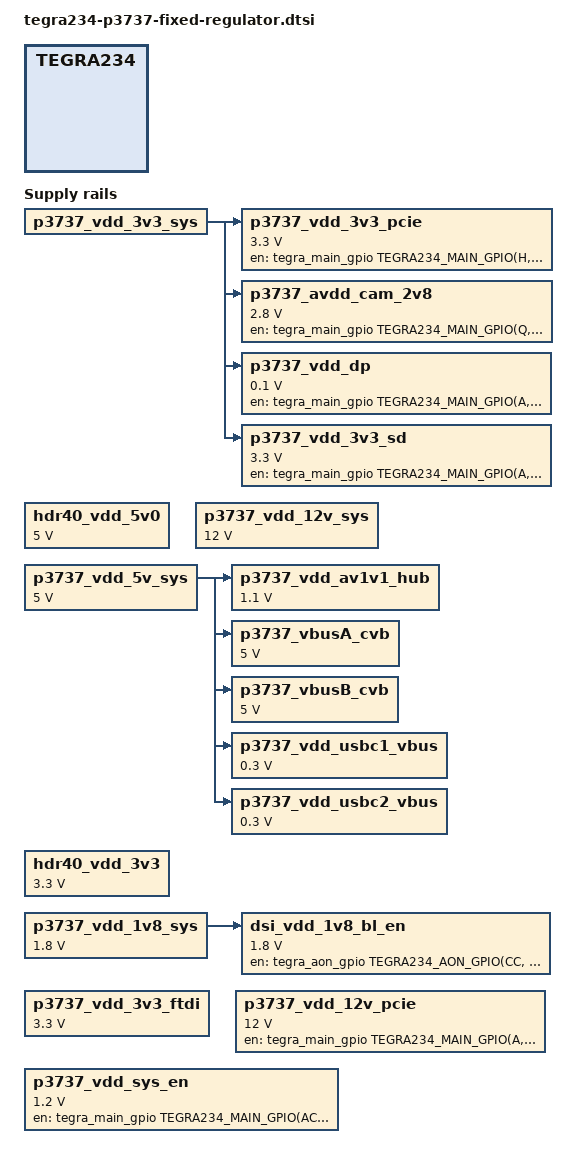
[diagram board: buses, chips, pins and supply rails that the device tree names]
/*
 * Copyright (c) 2021-2022, NVIDIA CORPORATION.  All rights reserved.
 *
 * This program is free software; you can redistribute it and/or modify
 * it under the terms of the GNU General Public License as published by
 * the Free Software Foundation; either version 2 of the License, or
 * (at your option) any later version.
 *
 * This program is distributed in the hope that it will be useful, but WITHOUT
 * ANY WARRANTY; without even the implied warranty of MERCHANTABILITY or
 * FITNESS FOR A PARTICULAR PURPOSE.  See the GNU General Public License for
 * more details.
 */

#include <dt-bindings/gpio/tegra234-gpio.h>
/ {
	fixed-regulators {
		hdr40_vdd_5v0: battery_reg: regulator@0 {
			compatible = "regulator-fixed";
			reg = <0>;
			regulator-name = "vdd-ac-bat";
			regulator-min-microvolt = <5000000>;
			regulator-max-microvolt = <5000000>;
			regulator-always-on;
		};
		p3737_vdd_12v_sys: regulator@100 {
			compatible = "regulator-fixed";
			reg = <100>;
			regulator-name = "vdd-12v-sys";
			regulator-min-microvolt = <12000000>;
			regulator-max-microvolt = <12000000>;
		};
		p3737_vdd_5v_sys: vdd_5v_sys: regulator@101 {
			compatible = "regulator-fixed";
			reg = <101>;
			regulator-name = "vdd-5v-sys";
			regulator-min-microvolt = <5000000>;
			regulator-max-microvolt = <5000000>;
		};
		hdr40_vdd_3v3: p3737_vdd_3v3_sys: vdd_3v3_sys: regulator@102 {
			compatible = "regulator-fixed";
			reg = <102>;
			regulator-name = "vdd-3v3-sys";
			regulator-min-microvolt = <3300000>;
			regulator-max-microvolt = <3300000>;
		};
		p3737_vdd_1v8_sys: regulator@103 {
			compatible = "regulator-fixed";
			reg = <103>;
			regulator-name = "vdd-1v8-sys";
			regulator-min-microvolt = <1800000>;
			regulator-max-microvolt = <1800000>;
		};
		p3737_vdd_3v3_ftdi: regulator@104 {
			compatible = "regulator-fixed";
			reg = <104>;
			regulator-name = "vdd-3v3-ftdi";
			regulator-min-microvolt = <3300000>;
			regulator-max-microvolt = <3300000>;
		};
		p3737_vdd_3v3_pcie: regulator@105 {
			compatible = "regulator-fixed";
			reg = <105>;
			regulator-name = "vdd-3v3-pcie";
			regulator-min-microvolt = <3300000>;
			regulator-max-microvolt = <3300000>;
			vin-supply = <&p3737_vdd_3v3_sys>;
			gpio = <&tegra_main_gpio TEGRA234_MAIN_GPIO(H, 4) 0>;
			enable-active-high;
			regulator-boot-on;
		};
		p3737_avdd_cam_2v8: regulator@106 {
			compatible = "regulator-fixed";
			reg = <106>;
			regulator-name = "avdd-cam-2v8";
			regulator-min-microvolt = <2800000>;
			regulator-max-microvolt = <2800000>;
			vin-supply = <&p3737_vdd_3v3_sys>;
			gpio = <&tegra_main_gpio TEGRA234_MAIN_GPIO(Q, 1) 0>;
			enable-active-high;
		};
		p3737_vdd_av1v1_hub: regulator@107 {
			compatible = "regulator-fixed";
			reg = <107>;
			regulator-name = "vdd-av1v1-hub";
			regulator-min-microvolt = <1100000>;
			regulator-max-microvolt = <1100000>;
			regulator-always-on;
			vin-supply = <&p3737_vdd_5v_sys>;
		};
		p3737_vbusA_cvb: regulator@108 {
			compatible = "regulator-fixed";
			reg = <108>;
			regulator-name = "vbusA-cvb";
			regulator-min-microvolt = <5000000>;
			regulator-max-microvolt = <5000000>;
			regulator-always-on;
			vin-supply = <&p3737_vdd_5v_sys>;
		};
		p3737_vbusB_cvb: regulator@109 {
			compatible = "regulator-fixed";
			reg = <109>;
			regulator-name = "vbusB-cvb";
			regulator-min-microvolt = <5000000>;
			regulator-max-microvolt = <5000000>;
			regulator-always-on;
			vin-supply = <&p3737_vdd_5v_sys>;
		};
		p3737_vdd_dp: regulator@110 {
			compatible = "regulator-fixed";
			reg = <110>;
			regulator-name = "vdd-dp";
			regulator-min-microvolt = <100000>;
			regulator-max-microvolt = <100000>;
			vin-supply = <&p3737_vdd_3v3_sys>;
			gpio = <&tegra_main_gpio TEGRA234_MAIN_GPIO(A, 3) 0>;
			regulator-always-on; /* Keeping always-on for bringup */
			enable-active-high;
		};
		p3737_vdd_3v3_sd: regulator@111 {
			compatible = "regulator-fixed";
			reg = <111>;
			regulator-name = "vdd-3v3-sd";
			regulator-min-microvolt = <3300000>;
			regulator-max-microvolt = <3300000>;
			vin-supply = <&p3737_vdd_3v3_sys>;
			gpio = <&tegra_main_gpio TEGRA234_MAIN_GPIO(A, 0) 0>;
			enable-active-high;
		};
		p3737_vdd_usbc1_vbus: regulator@112 {
			compatible = "regulator-fixed";
			reg = <112>;
			regulator-name = "vdd-usbc1-vbus";
			regulator-min-microvolt = <300000>;
			regulator-max-microvolt = <300000>;
			regulator-always-on;
			vin-supply = <&p3737_vdd_5v_sys>;
		};
		p3737_vdd_usbc2_vbus: regulator@113 {
			compatible = "regulator-fixed";
			reg = <113>;
			regulator-name = "vdd-usbc2-vbus";
			regulator-min-microvolt = <300000>;
			regulator-max-microvolt = <300000>;
			regulator-always-on;
			vin-supply = <&p3737_vdd_5v_sys>;
		};
		p3737_vdd_12v_pcie: regulator@114 {
			compatible = "regulator-fixed";
			reg = <114>;
			regulator-name = "vdd-12v-pcie";
			regulator-min-microvolt = <12000000>;
			regulator-max-microvolt = <12000000>;
			gpio = <&tegra_main_gpio TEGRA234_MAIN_GPIO(A, 1) 1>;
			regulator-boot-on;
			enable-active-low;
		};
		p3737_vdd_sys_en: regulator@115 {
			compatible = "regulator-fixed";
			reg = <115>;
			regulator-name = "vdd_sys_en";
			regulator-min-microvolt = <1200000>;
			regulator-max-microvolt = <1200000>;
			gpio = <&tegra_main_gpio TEGRA234_MAIN_GPIO(AC, 7) 0>;
			regulator-always-on;
			enable-active-high;
		};
		dsi_vdd_1v8_bl_en: regulator@116 {
			compatible = "regulator-fixed";
			reg = <116>;
			regulator-name = "dsi-vdd-1v8-bl-en";
			regulator-min-microvolt = <1800000>;
			regulator-max-microvolt = <1800000>;
			vin-supply = <&p3737_vdd_1v8_sys>;
			gpio = <&tegra_aon_gpio TEGRA234_AON_GPIO(CC, 2) 0>; //CAM_INT3, GPIO_ACTIVE_HIGH == 0
			enable-active-high;
		};
	};
};
